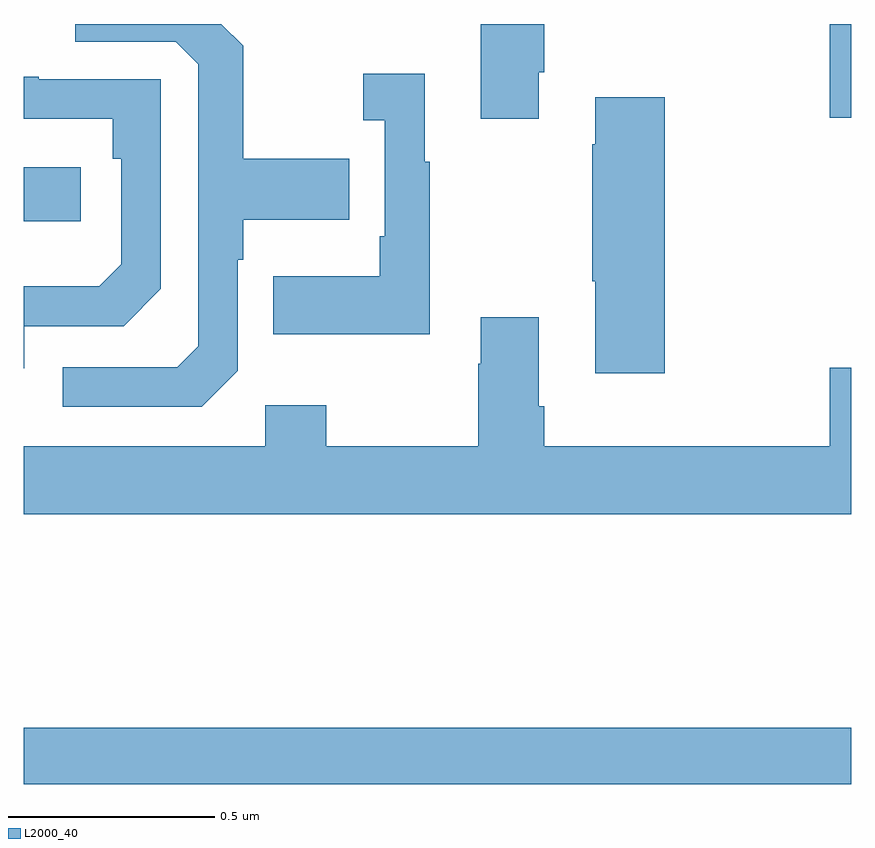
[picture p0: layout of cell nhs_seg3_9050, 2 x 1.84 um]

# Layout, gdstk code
import gdstk
lib = gdstk.Library(unit=1e-6, precision=1e-09)
def R(c, l, rs):  # rectangles x0, y0, x1, y1
    for r in rs: c.add(gdstk.rectangle(r[:2], r[2:], *l))
def P(c, l, *ps):  # polygons
    for p in ps: c.add(gdstk.Polygon(p, *l))
L2000_40 = (2000, 40)

nhs_seg3_9050 = lib.new_cell('nhs_seg3_9050')
R(nhs_seg3_9050, L2000_40, [(223,733.564,225,733.7), (223,734.924,223.138,735.054), (224.948,735.174,225,735.4)])
P(nhs_seg3_9050, L2000_40, [(224.245,735.283),(224.258,735.283),(224.258,735.4),(224.105,735.4),(224.105,735.171),(224.245,735.171)],
  [(223.518,734.562),(223.518,734.831),(223.531,734.831),(223.531,734.927),(223.787,734.927),(223.787,735.075),(223.531,735.075),(223.531,735.347),(223.478,735.4),(223.125,735.4),(223.125,735.357),(223.368,735.357),(223.422,735.303),(223.422,734.622),(223.371,734.571),(223.095,734.571),(223.095,734.475),(223.431,734.475)],
  [(223.981,735.067),(223.969,735.067),(223.969,735.28),(223.821,735.28),(223.821,735.167),(223.872,735.167),(223.872,734.887),(223.86,734.887),(223.86,734.791),(223.603,734.791),(223.603,734.651),(223.981,734.651)],
  [(223.002,734.67),(223.242,734.67),(223.332,734.76),(223.332,735.267),(223.037,735.267),(223.037,735.272),(223,735.272),(223,735.171),(223.216,735.171),(223.216,735.074),(223.236,735.074),(223.236,734.82),(223.183,734.767),(223,734.767),(223,734.568),(223.002,734.568)],
  [(224.549,735.223),(224.381,735.223),(224.381,735.11),(224.374,735.11),(224.374,734.779),(224.381,734.779),(224.381,734.556),(224.549,734.556)],
  [(225,734.569),(224.948,734.569),(224.948,734.38),(224.258,734.38),(224.258,734.476),(224.245,734.476),(224.245,734.692),(224.105,734.692),(224.105,734.579),(224.098,734.579),(224.098,734.38),(223.731,734.38),(223.731,734.479),(223.584,734.479),(223.584,734.38),(223,734.38),(223,734.216),(225,734.216)])

lib.write_gds('nhs_seg3_9050.gds')
